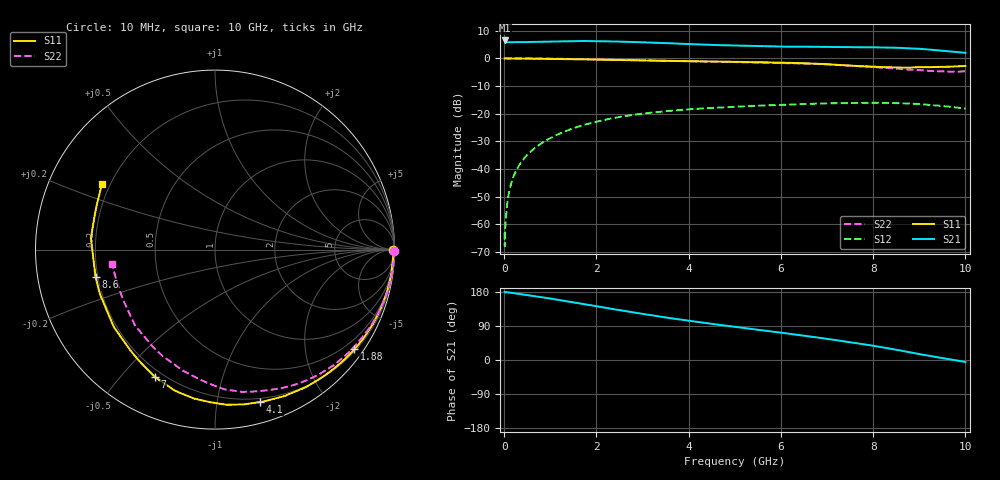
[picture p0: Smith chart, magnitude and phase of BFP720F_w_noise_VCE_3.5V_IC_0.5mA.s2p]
! Infineon Technologies  Discrete & RF Semiconductors
! BFP720F
! VCE =  3.5 V,  IC =  0.5 mA
! Common Emitter S-Parameters:  Jan 2016
# GHz  S  MA  R  50
!  f  S11  S21  S12  S22
! GHz  MAG  ANG  MAG  ANG  MAG  ANG  MAG  ANG
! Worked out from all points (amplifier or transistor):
!   233 points, 10 MHz to 10 GHz, reference 50 ohm
!   highest |S21| = 6.5 dB at 10 MHz (marker M1)
!   |S21| within 3 dB of that: start of sweep to 8.988 GHz
!   unconditionally stable (mu >= 1): nowhere
!   at 200 MHz: K = 0.01, MSG = 24.3 dB, |S12| = -42.9 dB
!   at 1.74 GHz: K = 0.12, MSG = 15.2 dB, |S12| = -24.0 dB
!   at 10 GHz: K = 0.81, MSG = 10.1 dB, |S12| = -18.1 dB
!   lowest NFmin = 0.54 dB at 450 MHz
!   S11 on the Smith chart (normalised r, x): 10 MHz: open; 1.88 GHz: 0.25, -3.10; 4.1 GHz: 0.17, -1.32; 7 GHz: 0.17, -0.62; 8.6 GHz: 0.19, -0.11; 10 GHz: 0.17, +0.26
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0.01  0.9945 -0.1  2.108 179.7  0.0007 -16.3  1 -0.5
0.015  0.9946 -0.2  2.044 179.0  0.0004 38.2  1 -0.7
0.02  0.9948 -0.3  1.981 178.3  0.0007 92.7  1 -0.9
0.025  0.9947 -0.4  1.977 178.4  0.0009 90.5  0.9997 -0.9
0.04  0.9943 -0.8  1.964 178.7  0.0014 87.1  0.9987 -0.8
0.07  0.9942 -1.3  1.956 178.6  0.0025 87.8  0.9984 -1.0
0.105  0.9944 -1.9  1.957 178.1  0.0038 88.8  0.9991 -1.5
0.2  0.9931 -3.5  1.96 176.5  0.0072 87.2  0.9979 -2.8
0.36  0.9919 -6.4  1.968 173.7  0.0129 84.7  0.9968 -5.2
0.86  0.9844 -15.6  2 164.8  0.031 77.1  0.9906 -12.3
1.68  0.9614 -31.6  2.06 148.5  0.0607 63.1  0.9685 -24.9
1.88  0.9542 -35.6  2.054 144.4  0.0676 59.4  0.9619 -28.0
2.62  0.9291 -49.7  1.999 129.2  0.0903 45.9  0.9357 -39.2
3.4  0.9044 -63.1  1.901 114.2  0.1084 32.7  0.9077 -49.2
4.1  0.8854 -73.6  1.799 101.9  0.1209 22.3  0.8851 -56.1
5.1  0.8629 -86.9  1.699 86.1  0.1345 8.6  0.8536 -64.9
6.8  0.7954 -111.3  1.617 59.2  0.1516 -14.1  0.7895 -83.3
7  0.7849 -115.2  1.616 55.8  0.1536 -17.0  0.78 -86.2
8.4  0.6875 -158.7  1.564 29.2  0.1563 -39.8  0.6612 -116.1
8.6  0.6827 -167.2  1.545 24.9  0.1546 -43.5  0.6433 -122.4
9  0.6945 174.7  1.491 15.6  0.1494 -51.6  0.6143 -136.5
10  0.7284 149.8  1.261 -5.1  0.1238 -68.9  0.5811 -172.2
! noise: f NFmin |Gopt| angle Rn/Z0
0.45  0.54  0.9  6  0.96
0.9  0.77  0.88  13  1.01
2.4  1.03  0.86  32  0.7
5.5  1.54  0.73  97  0.46
